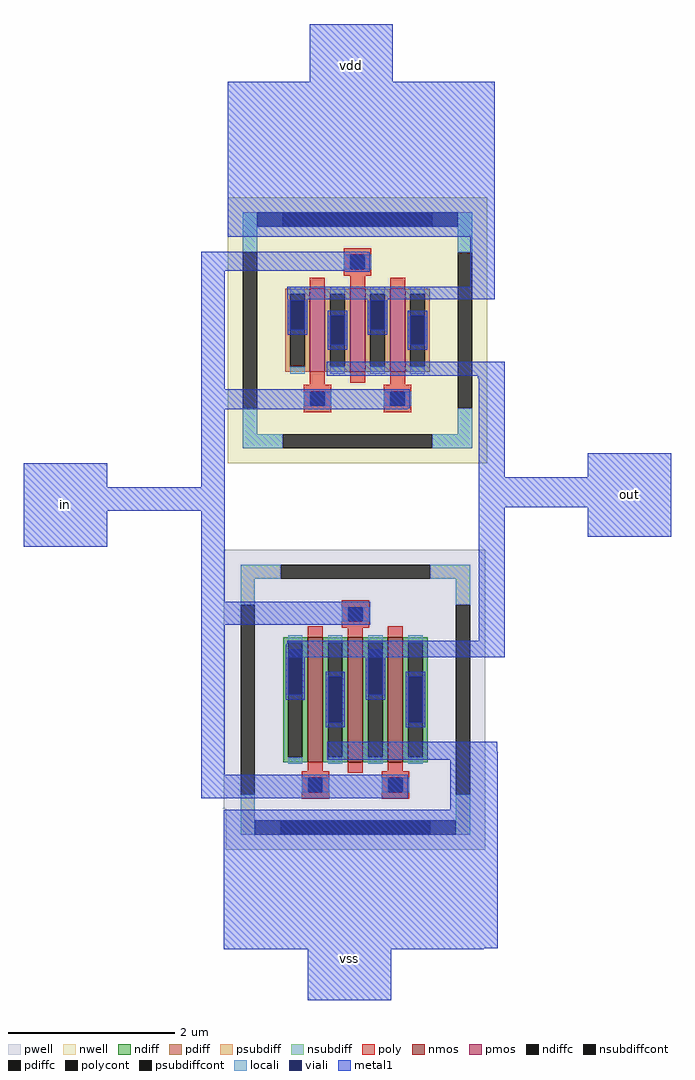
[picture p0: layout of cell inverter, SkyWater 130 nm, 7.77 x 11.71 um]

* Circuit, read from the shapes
.subckt inverter in out vss vdd
XM1 n1 in out vss sky130_fd_pr__nfet_01v8 w=1.5 l=0.18 m=2
XM2 n2 in out vss sky130_fd_pr__nfet_01v8 w=1.5 l=0.18
XM3 n3 in vdd vdd sky130_fd_pr__pfet_01v8 w=1 l=0.18 m=2
XM4 n4 in vdd vdd sky130_fd_pr__pfet_01v8 w=1 l=0.18
.ends

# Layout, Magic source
magic
tech sky130A
magscale 1 2
<< pwell >>
rect -58 646 569 1267
rect -60 645 569 646
<< metal1 >>
rect 148 2390 348 2528
rect -48 2018 592 2390
rect -112 1936 290 1982
rect -112 1652 -56 1936
rect 534 1898 592 2018
rect 94 1868 592 1898
rect 189 1684 616 1718
rect 552 1678 616 1684
rect -112 1604 384 1652
rect -538 1416 -338 1474
rect -112 1416 -56 1604
rect -538 1360 -56 1416
rect -538 1274 -338 1360
rect -112 1142 -56 1360
rect 554 1440 616 1678
rect 816 1440 1016 1498
rect 554 1368 1016 1440
rect -112 1086 294 1142
rect -112 726 -56 1086
rect 554 1048 616 1368
rect 816 1298 1016 1368
rect 94 1008 616 1048
rect 190 782 598 806
rect 190 762 600 782
rect -112 670 384 726
rect 486 642 600 762
rect -58 310 600 642
rect -58 308 566 310
rect 144 186 344 308
use sky130_fd_pr__nfet_01v8_RV7F6E  XM1
transform 1 0 258 0 1 907
box -311 -360 311 360
use sky130_fd_pr__pfet_01v8_6LLYWG  XM2
transform 1 0 263 0 1 1793
box -311 -319 311 319
<< labels >>
flabel metal1 -538 1274 -338 1474 0 FreeSans 256 0 0 0 in
port 0 nsew
flabel metal1 816 1298 1016 1498 0 FreeSans 256 0 0 0 out
port 1 nsew
flabel metal1 144 186 344 386 0 FreeSans 256 0 0 0 vss
port 2 nsew
flabel metal1 148 2328 348 2528 0 FreeSans 256 0 0 0 vdd
port 3 nsew
<< end >>

# cell sky130_fd_pr__nfet_01v8_RV7F6E: kit device sky130_fd_pr__nfet_01v8, w 1.5 l 0.18 m 1 nf 3 diffcov 100 polycov 100 guard 1 glc 1 grc 1 gtc 1 gbc 1 tbcov 100 rlcov 100 topc 1 botc 1 poverlap 0 doverlap 1 lmin 0.15 wmin 0.42 compatible {sky130_fd_pr__nfet_01v8 sky130_fd_pr__nfet_01v8_lvt sky130_fd_bs_flash__special_sonosfet_star sky130_fd_pr__nfet_g5v0d10v5 sky130_fd_pr__nfet_05v0_nvt sky130_fd_pr__nfet_03v3_nvt} full_metal 1 viasrc 40 viadrn -40 viagate 100 viagb 100 viagr 0 viagl 0 viagt 0

# cell sky130_fd_pr__pfet_01v8_6LLYWG: kit device sky130_fd_pr__pfet_01v8, w 1.0 l 0.18 m 1 nf 3 diffcov 100 polycov 100 guard 1 glc 1 grc 1 gtc 1 gbc 1 tbcov 100 rlcov 100 topc 1 botc 1 poverlap 0 doverlap 1 lmin 0.15 wmin 0.42 compatible {sky130_fd_pr__pfet_01v8 sky130_fd_pr__pfet_01v8_lvt sky130_fd_pr__pfet_01v8_hvt sky130_fd_pr__pfet_g5v0d10v5} full_metal 1 viasrc 40 viadrn -40 viagate 100 viagb 0 viagr 0 viagl 0 viagt 100
